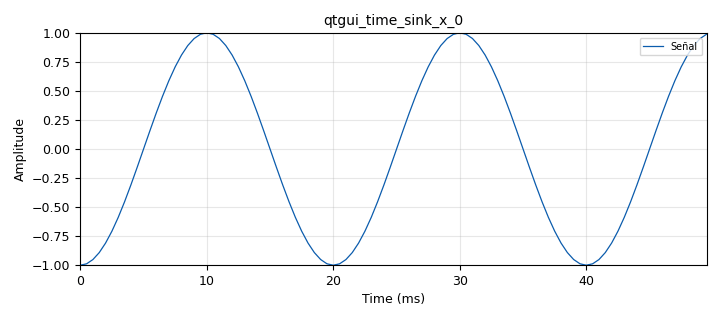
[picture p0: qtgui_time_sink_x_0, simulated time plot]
options:
  parameters:
    generate_options: qt_gui
    id: Actividad03
    output_language: python
    title: test02
  states: {}

blocks:
- name: samp_rate
  id: variable
  parameters:
    value: '2000'
  states: {}
- name: analog_sig_source_x_0
  id: analog_sig_source_x
  parameters:
    amp: '1'
    freq: '50'
    offset: '0'
    phase: 3.14/2
    samp_rate: samp_rate
    type: float
    waveform: analog.GR_SIN_WAVE
  states: {}
- name: audio_sink_0
  id: audio_sink
  parameters:
    device_name: plughw:0,0
    samp_rate: samp_rate
  states: {}
- name: blocks_throttle_0
  id: blocks_throttle
  parameters:
    samples_per_second: samp_rate
    type: float
  states: {}
- name: qtgui_time_sink_x_0
  id: qtgui_time_sink_x
  parameters:
    grid: 'True'
    label1: 'Señal '
    size: '100'
    srate: samp_rate
    type: float
  states: {}

connections:
- [analog_sig_source_x_0, '0', blocks_throttle_0, '0']
- [blocks_throttle_0, '0', audio_sink_0, '0']
- [blocks_throttle_0, '0', qtgui_time_sink_x_0, '0']

metadata:
  file_format: 1
